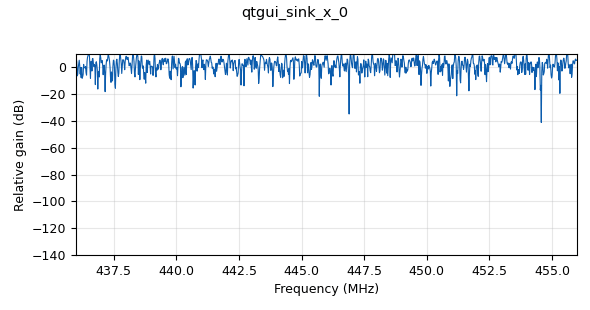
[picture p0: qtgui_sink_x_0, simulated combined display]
options:
  parameters:
    category: Custom
    generate_options: qt_gui
    id: jammer_gen
    output_language: python
  states: {}

blocks:
- name: bandwidth
  id: variable_qtgui_range
  parameters:
    label: Bandwidth
    orient: Qt.Horizontal
    start: 2e6
    step: '10'
    stop: 50e6
    value: var_bandwidth
    widget: slider
  states: {}
- name: bb_gain
  id: variable_qtgui_range
  parameters:
    label: BB gain
    orient: Qt.Horizontal
    start: '10'
    step: '10'
    stop: '60'
    value: var_bb_gain
    widget: slider
  states: {}
- name: cent_freq
  id: variable_qtgui_range
  parameters:
    label: Freq
    orient: Qt.Horizontal
    start: 10e6
    step: '500'
    stop: 6000e6
    value: var_cent_freq
  states: {}
- name: if_gain
  id: variable_qtgui_range
  parameters:
    label: IF gain
    orient: Qt.Horizontal
    start: '10'
    step: '10'
    stop: '60'
    value: var_if_gain
    widget: slider
  states: {}
- name: rf_gain
  id: variable_qtgui_range
  parameters:
    label: RF gain
    orient: Qt.Horizontal
    start: '10'
    step: '10'
    stop: '60'
    value: var_rf_gain
    widget: slider
  states: {}
- name: samp_rate
  id: variable
  parameters:
    value: 1e6
  states: {}
- name: sample_rate
  id: variable_qtgui_range
  parameters:
    label: Sample rate
    orient: Qt.Horizontal
    start: 1e6
    step: '10'
    stop: 20e6
    value: samp_rate
    widget: slider
  states: {}
- name: var_bandwidth
  id: variable
  parameters:
    value: 20e6
  states: {}
- name: var_bb_gain
  id: variable
  parameters:
    value: '40'
  states: {}
- name: var_cent_freq
  id: variable
  parameters:
    value: '446000000'
  states: {}
- name: var_if_gain
  id: variable
  parameters:
    value: '40'
  states: {}
- name: var_rf_gain
  id: variable
  parameters:
    value: '60'
  states: {}
- name: analog_noise_source_x_1
  id: analog_noise_source_x
  parameters:
    amp: '100'
    noise_type: analog.GR_GAUSSIAN
    seed: '0'
    type: complex
  states: {}
- name: osmosdr_sink_0
  id: osmosdr_sink
  parameters:
    ant0: '1'
    args: ''
    bb_gain0: bb_gain
    bw0: bandwidth
    freq0: cent_freq
    gain0: rf_gain
    if_gain0: if_gain
    sample_rate: sample_rate
    sync: pc_clock
    type: fc32
  states: {}
- name: qtgui_sink_x_0
  id: qtgui_sink_x
  parameters:
    bw: bandwidth
    fc: cent_freq
    fftsize: '1024'
    plotconst: 'False'
    plottime: 'False'
    plotwaterfall: 'False'
    showrf: 'True'
    type: complex
    wintype: firdes.WIN_BLACKMAN_hARRIS
  states: {}
- name: xmlrpc_server_0
  id: xmlrpc_server
  parameters:
    addr: localhost
    port: '8888'
  states: {}

connections:
- [analog_noise_source_x_1, '0', osmosdr_sink_0, '0']
- [analog_noise_source_x_1, '0', qtgui_sink_x_0, '0']

metadata:
  file_format: 1
